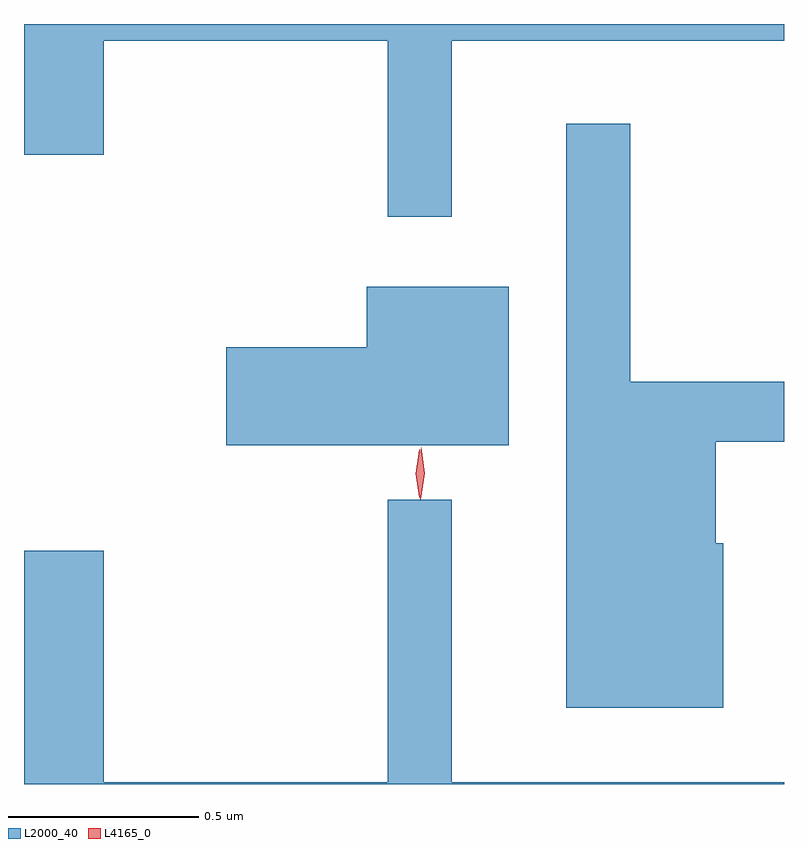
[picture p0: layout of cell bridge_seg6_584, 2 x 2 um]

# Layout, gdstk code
import gdstk
lib = gdstk.Library(unit=1e-6, precision=1e-09)
def P(c, l, *ps):  # polygons
    for p in ps: c.add(gdstk.Polygon(p, *l))
L2000_40 = (2000, 40)
L4165_0 = (4165, 0)

bridge_seg6_584 = lib.new_cell('bridge_seg6_584')
P(bridge_seg6_584, L2000_40, [(436.039,1654.376),(436.914,1654.376),(436.914,1654.42),(434.914,1654.42),(434.914,1654.076),(435.124,1654.076),(435.124,1654.376),(435.871,1654.376),(435.871,1653.913),(436.039,1653.913)],
  [(436.754,1653.054),(436.734,1653.054),(436.734,1653.321),(436.914,1653.321),(436.914,1653.479),(436.509,1653.479),(436.509,1654.158),(436.341,1654.158),(436.341,1652.621),(436.754,1652.621)],
  [(436.189,1653.729),(435.816,1653.729),(435.816,1653.569),(435.446,1653.569),(435.446,1653.311),(436.189,1653.311)],
  [(436.914,1652.424),(436.039,1652.424),(436.039,1653.168),(435.871,1653.168),(435.871,1652.424),(435.124,1652.424),(435.124,1653.034),(434.914,1653.034),(434.914,1652.42),(436.914,1652.42)])
P(bridge_seg6_584, L4165_0, [(435.957,1653.17),(435.948,1653.238),(435.959,1653.305),(435.959,1653.306),(435.96,1653.305),(435.968,1653.238),(435.958,1653.17),(435.958,1653.17)],
  [(435.955,1653.173),(435.954,1653.174),(435.945,1653.236),(435.954,1653.3),(435.955,1653.3),(435.956,1653.3),(435.965,1653.236),(435.956,1653.174)])

lib.write_gds('bridge_seg6_584.gds')
